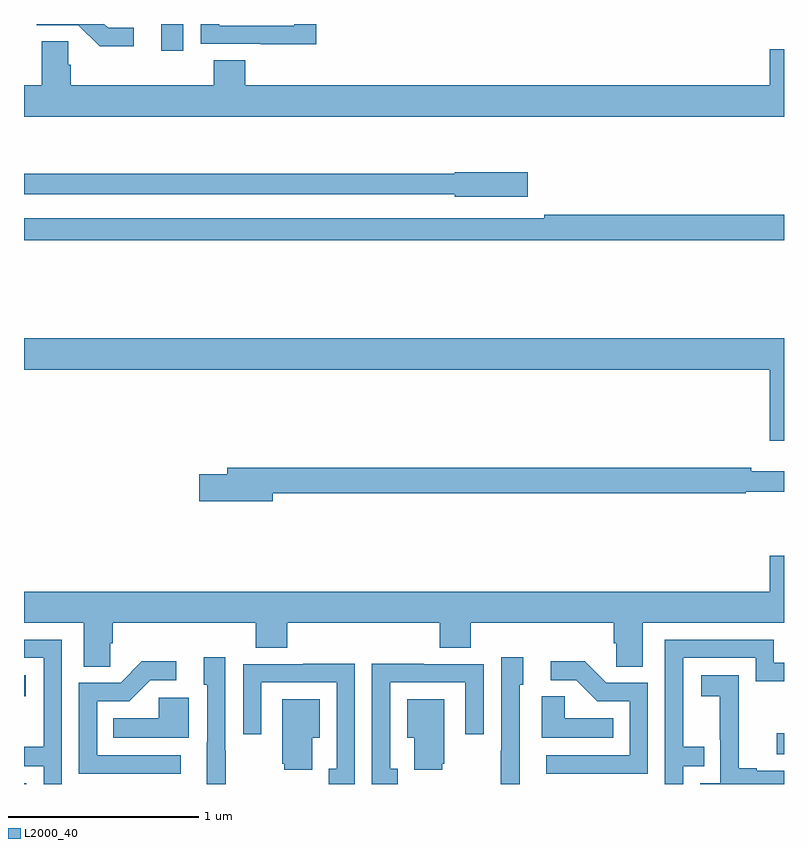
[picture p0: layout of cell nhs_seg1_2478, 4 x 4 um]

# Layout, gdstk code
import gdstk
lib = gdstk.Library(unit=1e-6, precision=1e-09)
def R(c, l, rs):  # rectangles x0, y0, x1, y1
    for r in rs: c.add(gdstk.rectangle(r[:2], r[2:], *l))
def P(c, l, *ps):  # polygons
    for p in ps: c.add(gdstk.Polygon(p, *l))
L2000_40 = (2000, 40)

nhs_seg1_2478 = lib.new_cell('nhs_seg1_2478')
R(nhs_seg1_2478, L2000_40, [(245,568.199,245.013,568.203), (248.961,568.356,249,568.465), (245,568.661,245.008,568.771), (245.723,572.058,245.838,572.199)])
P(nhs_seg1_2478, L2000_40, [(246.539,572.199),(246.423,572.199),(246.423,572.19),(246.027,572.19),(246.027,572.199),(245.931,572.199),(245.931,572.094),(246.247,572.094),(246.247,572.093),(246.539,572.093)],
  [(245.578,572.178),(245.443,572.178),(245.422,572.199),(245.067,572.199),(245.067,572.193),(245.286,572.193),(245.399,572.081),(245.578,572.081)],
  [(249,572.065),(248.924,572.065),(248.924,571.876),(246.164,571.876),(246.164,572.009),(245.999,572.009),(245.999,571.876),(245.246,571.876),(245.246,571.985),(245.232,571.985),(245.232,572.108),(245.093,572.108),(245.093,571.876),(245,571.876),(245,571.712),(249,571.712)],
  [(247.651,571.419),(247.266,571.419),(247.266,571.411),(245,571.411),(245,571.302),(247.266,571.302),(247.266,571.289),(247.651,571.289)],
  [(249,571.196),(247.738,571.196),(247.738,571.176),(245,571.176),(245,571.06),(249,571.06)],
  [(249,570.544),(245,570.544),(245,570.38),(248.924,570.38),(248.924,570.006),(249,570.006)],
  [(246.31,569.728),(248.799,569.728),(248.799,569.736),(249,569.736),(249,569.845),(248.828,569.845),(248.828,569.864),(246.071,569.864),(246.071,569.828),(245.922,569.828),(245.922,569.686),(246.31,569.686)],
  [(245.454,568.939),(245.468,568.939),(245.468,569.048),(246.221,569.048),(246.221,568.915),(246.386,568.915),(246.386,569.048),(247.187,569.048),(247.187,568.915),(247.352,568.915),(247.352,569.048),(248.105,569.048),(248.105,568.939),(248.118,568.939),(248.118,568.816),(248.257,568.816),(248.257,569.048),(249,569.048),(249,569.401),(248.924,569.401),(248.924,569.212),(245,569.212),(245,569.048),(245.315,569.048),(245.315,568.816),(245.454,568.816)],
  [(248.469,568.293),(248.579,568.293),(248.579,568.394),(248.469,568.394),(248.469,568.863),(248.85,568.863),(248.85,568.74),(249,568.74),(249,568.836),(248.947,568.836),(248.947,568.959),(248.373,568.959),(248.373,568.199),(248.469,568.199)],
  [(245.199,568.959),(245,568.959),(245,568.863),(245.103,568.863),(245.103,568.394),(245,568.394),(245,568.293),(245.103,568.293),(245.103,568.199),(245.199,568.199)],
  [(247.608,568.722),(247.627,568.722),(247.627,568.867),(247.512,568.867),(247.512,568.373),(247.51,568.373),(247.51,568.199),(247.608,568.199)],
  [(246.063,568.373),(246.06,568.373),(246.06,568.867),(245.945,568.867),(245.945,568.722),(245.964,568.722),(245.964,568.418),(245.963,568.418),(245.963,568.199),(246.063,568.199)],
  [(245.824,568.35),(245.385,568.35),(245.385,568.635),(245.554,568.635),(245.665,568.746),(245.8,568.746),(245.8,568.844),(245.621,568.844),(245.508,568.731),(245.289,568.731),(245.289,568.254),(245.824,568.254)],
  [(248.283,568.731),(248.064,568.731),(247.951,568.844),(247.773,568.844),(247.773,568.746),(247.907,568.746),(248.018,568.635),(248.187,568.635),(248.187,568.35),(247.749,568.35),(247.749,568.254),(248.283,568.254)],
  [(246.741,568.832),(246.469,568.832),(246.469,568.83),(246.153,568.83),(246.153,568.461),(246.249,568.461),(246.249,568.734),(246.645,568.734),(246.645,568.278),(246.605,568.278),(246.605,568.199),(246.741,568.199)],
  [(246.967,568.278),(246.927,568.278),(246.927,568.734),(247.323,568.734),(247.323,568.461),(247.419,568.461),(247.419,568.83),(247.103,568.83),(247.103,568.832),(246.831,568.832),(246.831,568.199),(246.967,568.199)],
  [(249,568.269),(248.857,568.269),(248.857,568.282),(248.762,568.282),(248.762,568.565),(248.763,568.565),(248.763,568.771),(248.565,568.771),(248.565,568.661),(248.663,568.661),(248.663,568.433),(248.664,568.433),(248.664,568.203),(248.559,568.203),(248.559,568.199),(249,568.199)],
  [(248.102,568.546),(247.845,568.546),(247.845,568.661),(247.724,568.661),(247.724,568.442),(248.102,568.442)],
  [(245.866,568.654),(245.709,568.654),(245.709,568.546),(245.47,568.546),(245.47,568.442),(245.866,568.442)],
  [(247.202,568.305),(247.213,568.305),(247.213,568.645),(247.016,568.645),(247.016,568.442),(247.055,568.442),(247.055,568.274),(247.202,568.274)],
  [(246.517,568.442),(246.556,568.442),(246.556,568.645),(246.359,568.645),(246.359,568.305),(246.371,568.305),(246.371,568.274),(246.517,568.274)])

lib.write_gds('nhs_seg1_2478.gds')
